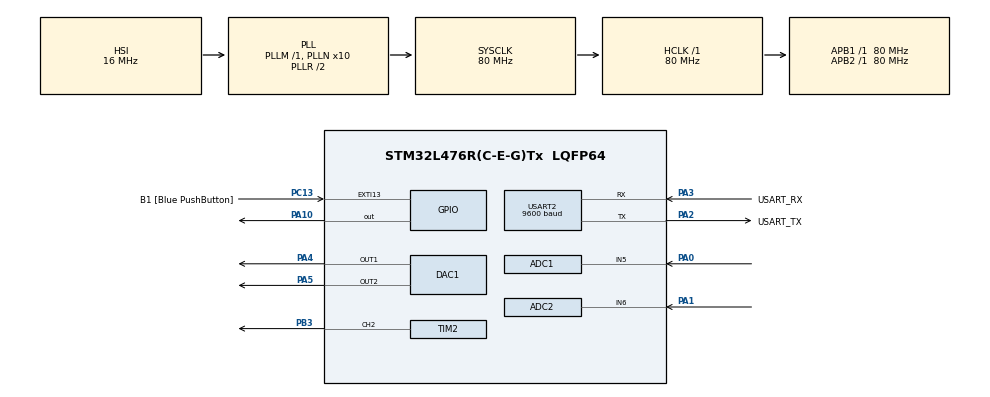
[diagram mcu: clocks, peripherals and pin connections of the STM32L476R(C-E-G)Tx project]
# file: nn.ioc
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ADC1.Channel-0\#ChannelRegularConversion=ADC_CHANNEL_5
ADC1.ContinuousConvMode=ENABLE
ADC1.DMAContinuousRequests=ENABLE
ADC1.NbrOfConversionFlag=1
ADC1.OffsetNumber-0\#ChannelRegularConversion=ADC_OFFSET_NONE
ADC1.Rank-0\#ChannelRegularConversion=1
ADC1.SamplingTime-0\#ChannelRegularConversion=ADC_SAMPLETIME_92CYCLES_5
ADC1.master=1
ADC2.Channel-0\#ChannelRegularConversion=ADC_CHANNEL_6
ADC2.ContinuousConvMode=ENABLE
ADC2.DMAContinuousRequests=ENABLE
ADC2.NbrOfConversionFlag=1
ADC2.OffsetNumber-0\#ChannelRegularConversion=ADC_OFFSET_NONE
ADC2.Rank-0\#ChannelRegularConversion=1
ADC2.SamplingTime-0\#ChannelRegularConversion=ADC_SAMPLETIME_92CYCLES_5
DAC1.DAC_Channel-DAC_OUT2=DAC_CHANNEL_2
Dma.ADC1.0.Direction=DMA_PERIPH_TO_MEMORY
Dma.ADC1.0.Instance=DMA1_Channel1
Dma.ADC1.0.MemDataAlignment=DMA_MDATAALIGN_HALFWORD
Dma.ADC1.0.MemInc=DMA_MINC_ENABLE
Dma.ADC1.0.Mode=DMA_CIRCULAR
Dma.ADC1.0.PeriphDataAlignment=DMA_PDATAALIGN_HALFWORD
Dma.ADC1.0.PeriphInc=DMA_PINC_DISABLE
Dma.ADC1.0.Priority=DMA_PRIORITY_LOW
Dma.ADC2.1.Direction=DMA_PERIPH_TO_MEMORY
Dma.ADC2.1.Instance=DMA1_Channel2
Dma.ADC2.1.MemDataAlignment=DMA_MDATAALIGN_HALFWORD
Dma.ADC2.1.MemInc=DMA_MINC_ENABLE
Dma.ADC2.1.Mode=DMA_CIRCULAR
Dma.ADC2.1.PeriphDataAlignment=DMA_PDATAALIGN_HALFWORD
Dma.ADC2.1.PeriphInc=DMA_PINC_DISABLE
Dma.ADC2.1.Priority=DMA_PRIORITY_LOW
Dma.Request0=ADC1
Dma.Request1=ADC2
Mcu.Family=STM32L4
Mcu.Name=STM32L476R(C-E-G)Tx
Mcu.Package=LQFP64
NVIC.DMA1_Channel1_IRQn=true\:0\:0\:false\:false\:true\:false\:true
NVIC.DMA1_Channel2_IRQn=true\:0\:0\:false\:false\:true\:false\:true
NVIC.PriorityGroup=NVIC_PRIORITYGROUP_4
NVIC.TIM3_IRQn=true\:0\:0\:false\:false\:true\:true\:true
PA0.Signal=ADCx_IN5
PA1.Signal=ADCx_IN6
PA10.Signal=GPIO_Output
PA13\ (JTMS-SWDIO).GPIO_Label=TMS
PA13\ (JTMS-SWDIO).Mode=Serial_Wire
PA13\ (JTMS-SWDIO).Signal=SYS_JTMS-SWDIO
PA14\ (JTCK-SWCLK).GPIO_Label=TCK
PA14\ (JTCK-SWCLK).Mode=Serial_Wire
PA14\ (JTCK-SWCLK).Signal=SYS_JTCK-SWCLK
PA2.GPIO_Label=USART_TX
PA2.GPIO_Mode=GPIO_MODE_AF_PP
PA2.GPIO_PuPd=GPIO_NOPULL
PA2.GPIO_Speed=GPIO_SPEED_FREQ_VERY_HIGH
PA2.Mode=Asynchronous
PA2.Signal=USART2_TX
PA3.GPIO_Label=USART_RX
PA3.GPIO_Mode=GPIO_MODE_AF_PP
PA3.GPIO_PuPd=GPIO_NOPULL
PA3.GPIO_Speed=GPIO_SPEED_FREQ_VERY_HIGH
PA3.Mode=Asynchronous
PA3.Signal=USART2_RX
PA4.Signal=COMP_DAC11_group
PA5.Signal=COMP_DAC12_group
PB3\ (JTDO-TRACESWO).Signal=S_TIM2_CH2
PC13.GPIO_Label=B1 [Blue PushButton]
PC13.GPIO_ModeDefaultEXTI=GPIO_MODE_IT_FALLING
PC13.GPIO_PuPd=GPIO_NOPULL
PC13.Signal=GPXTI13
PC14-OSC32_IN\ (PC14).Mode=LSE-External-Oscillator
PC14-OSC32_IN\ (PC14).Signal=RCC_OSC32_IN
PC15-OSC32_OUT\ (PC15).Mode=LSE-External-Oscillator
PC15-OSC32_OUT\ (PC15).Signal=RCC_OSC32_OUT
PH0-OSC_IN\ (PH0).Signal=RCC_OSC_IN
PH1-OSC_OUT\ (PH1).Signal=RCC_OSC_OUT
ProjectManager.HeapSize=0x200
ProjectManager.StackSize=0x400
ProjectManager.TargetToolchain=STM32CubeIDE
RCC.ADCFreq_Value=64000000
RCC.AHBFreq_Value=80000000
RCC.APB1Freq_Value=80000000
RCC.APB1TimFreq_Value=80000000
RCC.APB2Freq_Value=80000000
RCC.APB2TimFreq_Value=80000000
RCC.CortexFreq_Value=80000000
RCC.HCLKFreq_Value=80000000
RCC.HSE_VALUE=8000000
RCC.HSI_VALUE=16000000
RCC.MSI_VALUE=4000000
RCC.PLLN=10
RCC.PLLSourceVirtual=RCC_PLLSOURCE_HSI
RCC.PREFETCH_ENABLE=1
RCC.SYSCLKFreq_VALUE=80000000
RCC.SYSCLKSource=RCC_SYSCLKSOURCE_PLLCLK
RCC.USBFreq_Value=64000000
RCC.VCOOutputFreq_Value=160000000
SH.ADCx_IN5.0=ADC1_IN5,IN5-Single-Ended
SH.ADCx_IN6.0=ADC2_IN6,IN6-Single-Ended
SH.COMP_DAC11_group.0=DAC1_OUT1,DAC_OUT1
SH.COMP_DAC12_group.0=DAC1_OUT2,DAC_OUT2
SH.S_TIM2_CH2.0=TIM2_CH2,PWM Generation2 CH2
TIM2.Channel-PWM\ Generation2\ CH2=TIM_CHANNEL_2
TIM2.Period=2000-1
TIM3.Period=100-1
TIM3.Prescaler=80-1
USART2.BaudRate=9600
USART2.VirtualMode-Asynchronous=VM_ASYNC
VP_TIM3_VS_ClockSourceINT.Mode=Internal
board=NUCLEO-L476RG

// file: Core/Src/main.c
/* USER CODE BEGIN Header */
/**
  ******************************************************************************
  * @file           : main.c
  * @brief          : Main program body
  ******************************************************************************
  * @attention
  *
  * <h2><center>&copy; Copyright (c) 2020 STMicroelectronics.
  * All rights reserved.</center></h2>
  *
  * This software component is licensed by ST under BSD 3-Clause license,
  * the "License"; You may not use this file except in compliance with the
  * License. You may obtain a copy of the License at:
  *                        opensource.org/licenses/BSD-3-Clause
  *
  ******************************************************************************
  */
/* USER CODE END Header */

#include "main.h"

/* USER CODE BEGIN Includes */
#include <string.h>
#include <stdio.h>
#include <stdbool.h>
/* USER CODE END Includes */

/* USER CODE BEGIN PD */
#define SIZE         7
#define DELTA_X0     200
#define DELTA_X1     7000
#define X0_MIN       -50
#define X1_MIN       -5000
#define U_MIN        -337900
#define COUNTER_PERIOD 3999
/* USER CODE END PD */

ADC_HandleTypeDef hadc1;
ADC_HandleTypeDef hadc2;
DMA_HandleTypeDef hdma_adc1;
DMA_HandleTypeDef hdma_adc2;

DAC_HandleTypeDef hdac1;

TIM_HandleTypeDef htim2;
TIM_HandleTypeDef htim3;

UART_HandleTypeDef huart2;

/* USER CODE BEGIN PV */
int u = 0;
const int xs0 = 50;
const int xs1 = 5000;
const int us = 337900;
uint16_t iter = 0;
int x[2] = {0,0};
int y[2] = {0,0};
int x_est[2] = {0,0};
int64_t integral = 0;
bool settled = false;
uint8_t settling_iter = 0;

uint16_t adc_buf0[SIZE];
uint16_t adc_buf1[SIZE];
/* USER CODE END PV */

void SystemClock_Config(void);
static void MX_GPIO_Init(void);
static void MX_DMA_Init(void);
static void MX_USART2_UART_Init(void);
static void MX_ADC1_Init(void);
static void MX_ADC2_Init(void);
static void MX_DAC1_Init(void);
static void MX_TIM2_Init(void);
static void MX_TIM3_Init(void);

/* USER CODE BEGIN 0 */
void swap(int* a, int* b)
{
	int t = *a;
    *a = *b;
    *b = t;
}

int partition (int arr[], int low, int high)
{
	int pivot = arr[high];    // pivot
	int i = (low - 1);  // Index of smaller element

    for (int j = low; j <= high- 1; j++)
    {
        // If current element is smaller than the pivot
        if (arr[j] < pivot)
        {
            i++;    // increment index of smaller element
            swap(&arr[i], &arr[j]);
        }
    }
    swap(&arr[i + 1], &arr[high]);
    return (i + 1);
}

void quickSort(int arr[], int low, int high)
{
    if (low < high)
    {
        /* pi is partitioning index, arr[p] is now
           at right place */
    	int pi = partition(arr, low, high);

        // Separately sort elements before
        // partition and after partition
        quickSort(arr, low, pi - 1);
        quickSort(arr, pi + 1, high);
    }
}

int get_median(int *values){
	int n = sizeof(values)/sizeof(values[0]);
    quickSort(values, 0, n-1);
    return values[SIZE/2];
}

void HAL_TIM_PeriodElapsedCallback(TIM_HandleTypeDef *htim)
{
	if (htim->Instance == htim3.Instance)
    {
		if(iter < 10000){
			iter++;
		}
		else{
			HAL_GPIO_WritePin(GPIOA,GPIO_PIN_10,GPIO_PIN_SET);
			// State measurement
			int value0[SIZE];
			int value1[SIZE];
			for(uint8_t i = 0; i<SIZE; i++){
				value0[i] = (int)adc_buf0[i];
				value1[i] = (int)adc_buf1[i];
			}
			y[0] = get_median(value0); y[0] *= 1075; y[0] /= 10000;
			y[1] = get_median(value1);   y[1] *= 29500; y[1] /= 10000;

			// State estimate
			int x0_prev = x[0];
			int x1_prev = x[1];
			x_est[0] = 97136*x0_prev - 978*x1_prev + 14878*u;    x_est[0] /= 100000;
			x_est[1] = 173187*x0_prev + 97046*x1_prev + 18083*u; x_est[1] /= 100000;

			// Combination
			int alpha = 250;
			int alpha_bar = 1000-alpha;
			x[0] = alpha*y[0] + alpha_bar*x_est[0]; x[0] /= 1000;
			x[1] = alpha*y[1] + alpha_bar*x_est[1]; x[1] /= 1000;

			//  Explicit MPC
			int dx0 = x[0] - xs0;
			int dx1 = x[1] - xs1;

			// Scaling the input
			dx0 -= X0_MIN;  dx0 *= 1000; dx0 /= DELTA_X0;
			dx1 -= X1_MIN;  dx1 *= 1000; dx1 /= DELTA_X1;

			int n1,n2,n3;

			//Region 1
			int H11 = -84*dx0+996*dx1-357663;       H11 = H11<=0;
			int H12 = 1000*dx0-1000000;             H12 = H12<=0;
			int H13 = -1000*dx1;                    H13 = H13<=0;
			int H14 = -1000*dx0;                    H14 = H14<=0;
			int H15 = 948*dx0-317*dx1-939649;       H15 = H15<=0;

			if(H11 && H12 && H13 && H14 && H15){
				n1 = -1*dx0-276*dx1+1048587;
				n2 = -1238*dx0+414*dx1+1226741;
				int u_temp = -0.0959*n1+1.0614*n2+141619;
				u = u_temp+U_MIN;
				HAL_DAC_SetValue(&hdac1, DAC_CHANNEL_1, DAC_ALIGN_12B_R, 0.5/3.3*4095);
			}
			else{
				// Region 2
				int H21 = 1000*dx0-1000000;          H21 = H21<=0;
				int H22 = -1000*dx0;                 H22 = H22<=0;
				int H23 = -73*dx0+997*dx1-784222;    H23 = H23<=0;
				int H24 = 674*dx0+738*dx1-1106412;   H24 = H24<=0;
				int H25 = 84*dx0-996*dx1+357663;     H25 = H25<=0;

				if(H21 && H22 && H23 && H24 && H25){
					n1 = 163*dx0-2222*dx1+1747205;
					n2 = -1102*dx0-1207*dx1+1808427;
					n3 = -220*dx0+2620*dx1-940435;
					int u_temp = -0.0959*n1+1.0614*n2-0.5676*n3+141619;
					u = u_temp+U_MIN;
					if(!settled){
						int diff = x[0]-x0_prev;
						if(diff > -100 && diff < 100){
							settling_iter++;
							if(settling_iter == 100){
								settled = true;
							}
						}
						else{
							settling_iter = 0;
						}
						}
						else{
							int error = 5000-y[1];
							integral += error;
							u += 40*integral;
						}
					HAL_DAC_SetValue(&hdac1, DAC_CHANNEL_1, DAC_ALIGN_12B_R, 1/3.3*4095);
				}
				else{
					// Region 3
					int H31 = -948*dx0+317*dx1+939649;    H31 = H31<=0;
					int H32 = 1000*dx0-1000000;           H32 = H32<=0;
					int H33 = -1000*dx1;                  H33 = H33<=0;

					if(H31 && H32 && H33){
						n1 = 614*dx0-481*dx1+439588;
						int u_temp = -0.0959*n1+141619;
						u = u_temp+U_MIN;
						HAL_DAC_SetValue(&hdac1, DAC_CHANNEL_1, DAC_ALIGN_12B_R, 1.5/3.3*4095);
					}
					else{
						// Region 4
						int H41 = 73*dx0-997*dx1+784222;       H41 = H41<=0;
						int H42 = 1000*dx1-1000000;            H42 = H42<=0;
						int H43 = -1000*dx0;                   H43 = H43<=0;
						int H44 = 907*dx0-422*dx1-300125;      H44 = H44<=0;

						if(H41 && H42 && H43 && H44){
							n2 = -1233*dx0+574*dx1+408098;
							n3 = -124*dx0+1305*dx1+93435;
							int u_temp = 1.0614*n2-0.5676*n3+141619;
							u = u_temp+U_MIN;
							HAL_DAC_SetValue(&hdac1, DAC_CHANNEL_1, DAC_ALIGN_12B_R, 2/3.3*4095);
						}
						else{
							// Region 5
							int H51 = -674*dx0-738*dx1+1106412;     H51 = H51<=0;
							int H52 = 1000*dx0-1000000;             H52 = H52<=0;
							int H53 = 1000*dx1-1000000;             H53 = H53<=0;
							int H54 = -544*dx0+839*dx1-311384;      H54 = H54<=0;

							if(H51 && H52 && H53 && H54){
								n1 = 910*dx0-1404*dx1+520906;
								n3 = -679*dx0+2117*dx1-186592;
								int u_temp = -0.0959*n1-0.5676*n3+141619;
								u = u_temp+U_MIN;
								HAL_DAC_SetValue(&hdac1, DAC_CHANNEL_1, DAC_ALIGN_12B_R, 2.5/3.3*4095);
							}
							else{
								// Region 6
								int H61 = 544*dx0-839*dx1+311384;     H61 = H61<=0;
								int H62 = -907*dx0+422*dx1+300125;    H62 = H62<=0;
								int H63 = 1000*dx1-1000000;           H63 = H63<=0;

								if(H61 && H62 && H63){
									n3 = -166*dx0+1325*dx1+107379;
									int u_temp = -0.5676*n3+141619;
									u = u_temp+U_MIN;
									HAL_DAC_SetValue(&hdac1, DAC_CHANNEL_1, DAC_ALIGN_12B_R, 3/3.3*4095);
								}
								else{
									// No region found => slow LQR
									dx0 = x[0] - xs0;
									dx1 = x[1] - xs1;
									u = -4854*dx0; u += 53*dx1;
									HAL_DAC_SetValue(&hdac1, DAC_CHANNEL_1, DAC_ALIGN_12B_R, 0);
								}
							}
						}
					}
				}
			}
			u += us;  u /= 1000;
			int input = u*COUNTER_PERIOD/1000;;
			if(input < 0) input = 0;
			if(input > COUNTER_PERIOD) input = COUNTER_PERIOD;
			htim2.Instance->CCR2 = input;
			//HAL_DAC_SetValue(&hdac1, DAC_CHANNEL_1, DAC_ALIGN_12B_R, input*4095/13197);
		}
	}
	//HAL_GPIO_WritePin(GPIOA,GPIO_PIN_10,GPIO_PIN_RESET);
}
/* USER CODE END 0 */

int main(void)
{

  /* MCU Configuration--------------------------------------------------------*/

  /* Reset of all peripherals, Initializes the Flash interface and the Systick. */
  HAL_Init();

  /* Configure the system clock */
  SystemClock_Config();

  /* Initialize all configured peripherals */
  MX_GPIO_Init();
  MX_DMA_Init();
  MX_USART2_UART_Init();
  MX_ADC1_Init();
  MX_ADC2_Init();
  MX_DAC1_Init();
  MX_TIM2_Init();
  MX_TIM3_Init();
  /* USER CODE BEGIN 2 */
  HAL_DAC_Start(&hdac1, DAC_CHANNEL_1);
  HAL_DAC_Start(&hdac1, DAC_CHANNEL_2);
  HAL_ADC_Start_DMA(&hadc2, (uint32_t*)adc_buf0, SIZE);
  HAL_ADC_Start_DMA(&hadc1, (uint32_t*)adc_buf1, SIZE);
  HAL_TIM_Base_Start_IT(&htim3);
  HAL_TIM_PWM_Start(&htim2, TIM_CHANNEL_2);
  htim2.Instance->CCR2 = 0;
  /* USER CODE END 2 */

  /* Infinite loop */
  while (1)
  {

  }
}

void SystemClock_Config(void)
{
  RCC_OscInitTypeDef RCC_OscInitStruct = {0};
  RCC_ClkInitTypeDef RCC_ClkInitStruct = {0};
  RCC_PeriphCLKInitTypeDef PeriphClkInit = {0};

  /** Initializes the CPU, AHB and APB busses clocks
  */
  RCC_OscInitStruct.OscillatorType = RCC_OSCILLATORTYPE_HSI;
  RCC_OscInitStruct.HSIState = RCC_HSI_ON;
  RCC_OscInitStruct.HSICalibrationValue = RCC_HSICALIBRATION_DEFAULT;
  RCC_OscInitStruct.PLL.PLLState = RCC_PLL_ON;
  RCC_OscInitStruct.PLL.PLLSource = RCC_PLLSOURCE_HSI;
  RCC_OscInitStruct.PLL.PLLM = 1;
  RCC_OscInitStruct.PLL.PLLN = 10;
  RCC_OscInitStruct.PLL.PLLP = RCC_PLLP_DIV7;
  RCC_OscInitStruct.PLL.PLLQ = RCC_PLLQ_DIV2;
  RCC_OscInitStruct.PLL.PLLR = RCC_PLLR_DIV2;
  if (HAL_RCC_OscConfig(&RCC_OscInitStruct) != HAL_OK)
  {
    Error_Handler();
  }
  /** Initializes the CPU, AHB and APB busses clocks
  */
  RCC_ClkInitStruct.ClockType = RCC_CLOCKTYPE_HCLK|RCC_CLOCKTYPE_SYSCLK
                              |RCC_CLOCKTYPE_PCLK1|RCC_CLOCKTYPE_PCLK2;
  RCC_ClkInitStruct.SYSCLKSource = RCC_SYSCLKSOURCE_PLLCLK;
  RCC_ClkInitStruct.AHBCLKDivider = RCC_SYSCLK_DIV1;
  RCC_ClkInitStruct.APB1CLKDivider = RCC_HCLK_DIV1;
  RCC_ClkInitStruct.APB2CLKDivider = RCC_HCLK_DIV1;

  if (HAL_RCC_ClockConfig(&RCC_ClkInitStruct, FLASH_LATENCY_4) != HAL_OK)
  {
    Error_Handler();
  }
  PeriphClkInit.PeriphClockSelection = RCC_PERIPHCLK_USART2|RCC_PERIPHCLK_ADC;
  PeriphClkInit.Usart2ClockSelection = RCC_USART2CLKSOURCE_PCLK1;
  PeriphClkInit.AdcClockSelection = RCC_ADCCLKSOURCE_PLLSAI1;
  PeriphClkInit.PLLSAI1.PLLSAI1Source = RCC_PLLSOURCE_HSI;
  PeriphClkInit.PLLSAI1.PLLSAI1M = 1;
  PeriphClkInit.PLLSAI1.PLLSAI1N = 8;
  PeriphClkInit.PLLSAI1.PLLSAI1P = RCC_PLLP_DIV7;
  PeriphClkInit.PLLSAI1.PLLSAI1Q = RCC_PLLQ_DIV2;
  PeriphClkInit.PLLSAI1.PLLSAI1R = RCC_PLLR_DIV2;
  PeriphClkInit.PLLSAI1.PLLSAI1ClockOut = RCC_PLLSAI1_ADC1CLK;
  if (HAL_RCCEx_PeriphCLKConfig(&PeriphClkInit) != HAL_OK)
  {
    Error_Handler();
  }
  /** Configure the main internal regulator output voltage
  */
  if (HAL_PWREx_ControlVoltageScaling(PWR_REGULATOR_VOLTAGE_SCALE1) != HAL_OK)
  {
    Error_Handler();
  }
}

static void MX_ADC1_Init(void)
{

  ADC_MultiModeTypeDef multimode = {0};
  ADC_ChannelConfTypeDef sConfig = {0};

  /** Common config
  */
  hadc1.Instance = ADC1;
  hadc1.Init.ClockPrescaler = ADC_CLOCK_ASYNC_DIV1;
  hadc1.Init.Resolution = ADC_RESOLUTION_12B;
  hadc1.Init.DataAlign = ADC_DATAALIGN_RIGHT;
  hadc1.Init.ScanConvMode = ADC_SCAN_DISABLE;
  hadc1.Init.EOCSelection = ADC_EOC_SINGLE_CONV;
  hadc1.Init.LowPowerAutoWait = DISABLE;
  hadc1.Init.ContinuousConvMode = ENABLE;
  hadc1.Init.NbrOfConversion = 1;
  hadc1.Init.DiscontinuousConvMode = DISABLE;
  hadc1.Init.NbrOfDiscConversion = 1;
  hadc1.Init.ExternalTrigConv = ADC_SOFTWARE_START;
  hadc1.Init.ExternalTrigConvEdge = ADC_EXTERNALTRIGCONVEDGE_NONE;
  hadc1.Init.DMAContinuousRequests = ENABLE;
  hadc1.Init.Overrun = ADC_OVR_DATA_PRESERVED;
  hadc1.Init.OversamplingMode = DISABLE;
  if (HAL_ADC_Init(&hadc1) != HAL_OK)
  {
    Error_Handler();
  }
  /** Configure the ADC multi-mode
  */
  multimode.Mode = ADC_MODE_INDEPENDENT;
  if (HAL_ADCEx_MultiModeConfigChannel(&hadc1, &multimode) != HAL_OK)
  {
    Error_Handler();
  }
  /** Configure Regular Channel
  */
  sConfig.Channel = ADC_CHANNEL_5;
  sConfig.Rank = ADC_REGULAR_RANK_1;
  sConfig.SamplingTime = ADC_SAMPLETIME_92CYCLES_5;
  sConfig.SingleDiff = ADC_SINGLE_ENDED;
  sConfig.OffsetNumber = ADC_OFFSET_NONE;
  sConfig.Offset = 0;
  if (HAL_ADC_ConfigChannel(&hadc1, &sConfig) != HAL_OK)
  {
    Error_Handler();
  }

}

static void MX_ADC2_Init(void)
{

  ADC_ChannelConfTypeDef sConfig = {0};

  /** Common config
  */
  hadc2.Instance = ADC2;
  hadc2.Init.ClockPrescaler = ADC_CLOCK_ASYNC_DIV1;
  hadc2.Init.Resolution = ADC_RESOLUTION_12B;
  hadc2.Init.DataAlign = ADC_DATAALIGN_RIGHT;
  hadc2.Init.ScanConvMode = ADC_SCAN_DISABLE;
  hadc2.Init.EOCSelection = ADC_EOC_SINGLE_CONV;
  hadc2.Init.LowPowerAutoWait = DISABLE;
  hadc2.Init.ContinuousConvMode = ENABLE;
  hadc2.Init.NbrOfConversion = 1;
  hadc2.Init.DiscontinuousConvMode = DISABLE;
  hadc2.Init.NbrOfDiscConversion = 1;
  hadc2.Init.ExternalTrigConv = ADC_SOFTWARE_START;
  hadc2.Init.ExternalTrigConvEdge = ADC_EXTERNALTRIGCONVEDGE_NONE;
  hadc2.Init.DMAContinuousRequests = ENABLE;
  hadc2.Init.Overrun = ADC_OVR_DATA_PRESERVED;
  hadc2.Init.OversamplingMode = DISABLE;
  if (HAL_ADC_Init(&hadc2) != HAL_OK)
  {
    Error_Handler();
  }
  /** Configure Regular Channel
  */
  sConfig.Channel = ADC_CHANNEL_6;
  sConfig.Rank = ADC_REGULAR_RANK_1;
  sConfig.SamplingTime = ADC_SAMPLETIME_92CYCLES_5;
  sConfig.SingleDiff = ADC_SINGLE_ENDED;
  sConfig.OffsetNumber = ADC_OFFSET_NONE;
  sConfig.Offset = 0;
  if (HAL_ADC_ConfigChannel(&hadc2, &sConfig) != HAL_OK)
  {
    Error_Handler();
  }

}

static void MX_DAC1_Init(void)
{

  DAC_ChannelConfTypeDef sConfig = {0};

  /** DAC Initialization
  */
  hdac1.Instance = DAC1;
  if (HAL_DAC_Init(&hdac1) != HAL_OK)
  {
    Error_Handler();
  }
  /** DAC channel OUT1 config
  */
  sConfig.DAC_SampleAndHold = DAC_SAMPLEANDHOLD_DISABLE;
  sConfig.DAC_Trigger = DAC_TRIGGER_NONE;
  sConfig.DAC_OutputBuffer = DAC_OUTPUTBUFFER_ENABLE;
  sConfig.DAC_ConnectOnChipPeripheral = DAC_CHIPCONNECT_DISABLE;
  sConfig.DAC_UserTrimming = DAC_TRIMMING_FACTORY;
  if (HAL_DAC_ConfigChannel(&hdac1, &sConfig, DAC_CHANNEL_1) != HAL_OK)
  {
    Error_Handler();
  }
  /** DAC channel OUT2 config
  */
  sConfig.DAC_ConnectOnChipPeripheral = DAC_CHIPCONNECT_DISABLE;
  if (HAL_DAC_ConfigChannel(&hdac1, &sConfig, DAC_CHANNEL_2) != HAL_OK)
  {
    Error_Handler();
  }

}

static void MX_TIM2_Init(void)
{

  TIM_MasterConfigTypeDef sMasterConfig = {0};
  TIM_OC_InitTypeDef sConfigOC = {0};

  htim2.Instance = TIM2;
  htim2.Init.Prescaler = 0;
  htim2.Init.CounterMode = TIM_COUNTERMODE_UP;
  htim2.Init.Period = 4000-1;
  htim2.Init.ClockDivision = TIM_CLOCKDIVISION_DIV1;
  htim2.Init.AutoReloadPreload = TIM_AUTORELOAD_PRELOAD_DISABLE;
  if (HAL_TIM_PWM_Init(&htim2) != HAL_OK)
  {
    Error_Handler();
  }
  sMasterConfig.MasterOutputTrigger = TIM_TRGO_RESET;
  sMasterConfig.MasterSlaveMode = TIM_MASTERSLAVEMODE_DISABLE;
  if (HAL_TIMEx_MasterConfigSynchronization(&htim2, &sMasterConfig) != HAL_OK)
  {
    Error_Handler();
  }
  sConfigOC.OCMode = TIM_OCMODE_PWM1;
  sConfigOC.Pulse = 0;
  sConfigOC.OCPolarity = TIM_OCPOLARITY_HIGH;
  sConfigOC.OCFastMode = TIM_OCFAST_DISABLE;
  if (HAL_TIM_PWM_ConfigChannel(&htim2, &sConfigOC, TIM_CHANNEL_2) != HAL_OK)
  {
    Error_Handler();
  }
  HAL_TIM_MspPostInit(&htim2);

}

static void MX_TIM3_Init(void)
{

  TIM_ClockConfigTypeDef sClockSourceConfig = {0};
  TIM_MasterConfigTypeDef sMasterConfig = {0};

  htim3.Instance = TIM3;
  htim3.Init.Prescaler = 80-1;
  htim3.Init.CounterMode = TIM_COUNTERMODE_UP;
  htim3.Init.Period = 100-1;
  htim3.Init.ClockDivision = TIM_CLOCKDIVISION_DIV1;
  htim3.Init.AutoReloadPreload = TIM_AUTORELOAD_PRELOAD_DISABLE;
  if (HAL_TIM_Base_Init(&htim3) != HAL_OK)
  {
    Error_Handler();
  }
  sClockSourceConfig.ClockSource = TIM_CLOCKSOURCE_INTERNAL;
  if (HAL_TIM_ConfigClockSource(&htim3, &sClockSourceConfig) != HAL_OK)
  {
    Error_Handler();
  }
  sMasterConfig.MasterOutputTrigger = TIM_TRGO_RESET;
  sMasterConfig.MasterSlaveMode = TIM_MASTERSLAVEMODE_DISABLE;
  if (HAL_TIMEx_MasterConfigSynchronization(&htim3, &sMasterConfig) != HAL_OK)
  {
    Error_Handler();
  }

}

static void MX_USART2_UART_Init(void)
{

  huart2.Instance = USART2;
  huart2.Init.BaudRate = 9600;
  huart2.Init.WordLength = UART_WORDLENGTH_8B;
  huart2.Init.StopBits = UART_STOPBITS_1;
  huart2.Init.Parity = UART_PARITY_NONE;
  huart2.Init.Mode = UART_MODE_TX_RX;
  huart2.Init.HwFlowCtl = UART_HWCONTROL_NONE;
  huart2.Init.OverSampling = UART_OVERSAMPLING_16;
  huart2.Init.OneBitSampling = UART_ONE_BIT_SAMPLE_DISABLE;
  huart2.AdvancedInit.AdvFeatureInit = UART_ADVFEATURE_NO_INIT;
  if (HAL_UART_Init(&huart2) != HAL_OK)
  {
    Error_Handler();
  }

}

static void MX_DMA_Init(void)
{

  /* DMA controller clock enable */
  __HAL_RCC_DMA1_CLK_ENABLE();

  /* DMA interrupt init */
  /* DMA1_Channel1_IRQn interrupt configuration */
  HAL_NVIC_SetPriority(DMA1_Channel1_IRQn, 0, 0);
  HAL_NVIC_EnableIRQ(DMA1_Channel1_IRQn);
  /* DMA1_Channel2_IRQn interrupt configuration */
  HAL_NVIC_SetPriority(DMA1_Channel2_IRQn, 0, 0);
  HAL_NVIC_EnableIRQ(DMA1_Channel2_IRQn);

}

static void MX_GPIO_Init(void)
{
  GPIO_InitTypeDef GPIO_InitStruct = {0};

  /* GPIO Ports Clock Enable */
  __HAL_RCC_GPIOC_CLK_ENABLE();
  __HAL_RCC_GPIOH_CLK_ENABLE();
  __HAL_RCC_GPIOA_CLK_ENABLE();
  __HAL_RCC_GPIOB_CLK_ENABLE();

  /*Configure GPIO pin Output Level */
  HAL_GPIO_WritePin(GPIOA, GPIO_PIN_10, GPIO_PIN_RESET);

  /*Configure GPIO pin : B1_Pin */
  GPIO_InitStruct.Pin = B1_Pin;
  GPIO_InitStruct.Mode = GPIO_MODE_IT_FALLING;
  GPIO_InitStruct.Pull = GPIO_NOPULL;
  HAL_GPIO_Init(B1_GPIO_Port, &GPIO_InitStruct);

  /*Configure GPIO pin : PA10 */
  GPIO_InitStruct.Pin = GPIO_PIN_10;
  GPIO_InitStruct.Mode = GPIO_MODE_OUTPUT_PP;
  GPIO_InitStruct.Pull = GPIO_NOPULL;
  GPIO_InitStruct.Speed = GPIO_SPEED_FREQ_LOW;
  HAL_GPIO_Init(GPIOA, &GPIO_InitStruct);

}

void Error_Handler(void)
{
}

/************************ (C) COPYRIGHT STMicroelectronics *****END OF FILE****/
